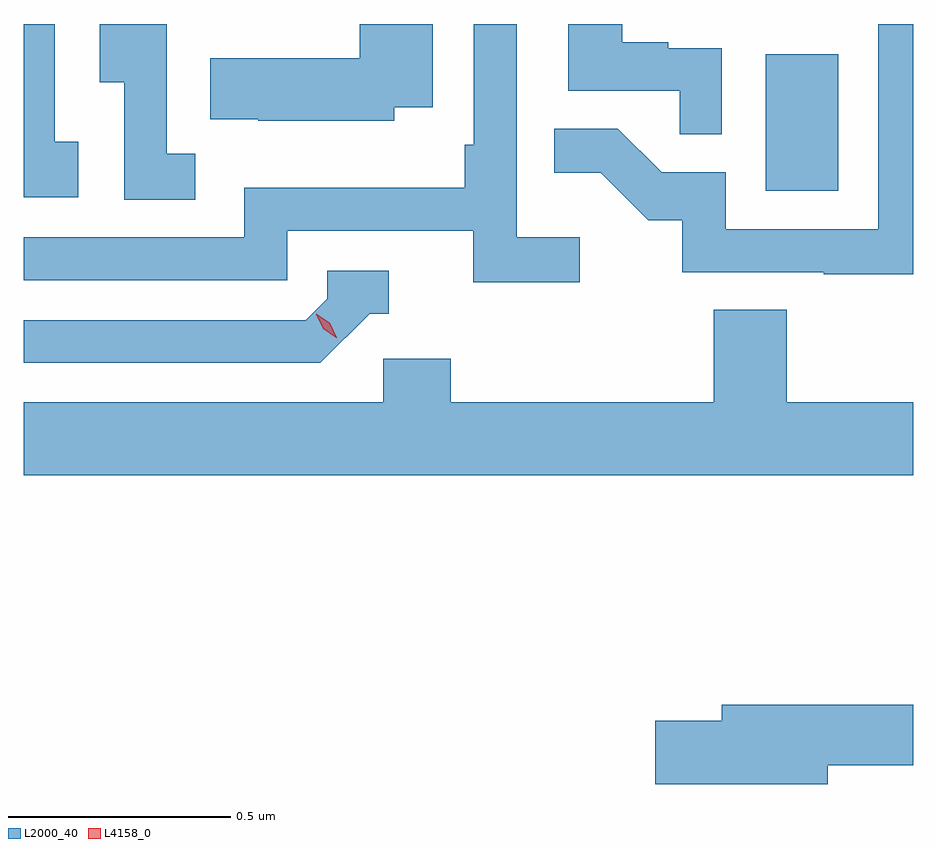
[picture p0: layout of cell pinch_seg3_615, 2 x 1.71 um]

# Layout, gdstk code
import gdstk
lib = gdstk.Library(unit=1e-6, precision=1e-09)
def R(c, l, rs):  # rectangles x0, y0, x1, y1
    for r in rs: c.add(gdstk.rectangle(r[:2], r[2:], *l))
def P(c, l, *ps):  # polygons
    for p in ps: c.add(gdstk.Polygon(p, *l))
L2000_40 = (2000, 40)
L4158_0 = (4158, 0)

pinch_seg3_615 = lib.new_cell('pinch_seg3_615')
R(pinch_seg3_615, L2000_40, [(1050.92,693.564,1051.084,693.871)])
P(pinch_seg3_615, L2000_40, [(1050.085,693.752),(1050.172,693.752),(1050.172,693.939),(1050.007,693.939),(1050.007,693.862),(1049.671,693.862),(1049.671,693.725),(1049.779,693.725),(1049.779,693.722),(1050.085,693.722)],
  [(1050.502,693.46),(1050.36,693.46),(1050.36,693.939),(1050.264,693.939),(1050.264,693.667),(1050.244,693.667),(1050.244,693.571),(1049.748,693.571),(1049.748,693.459),(1049.252,693.459),(1049.252,693.363),(1049.844,693.363),(1049.844,693.474),(1050.263,693.474),(1050.263,693.358),(1050.502,693.358)],
  [(1049.638,693.647),(1049.574,693.647),(1049.574,693.939),(1049.423,693.939),(1049.423,693.808),(1049.478,693.808),(1049.478,693.544),(1049.638,693.544)],
  [(1049.374,693.674),(1049.322,693.674),(1049.322,693.939),(1049.252,693.939),(1049.252,693.549),(1049.374,693.549)],
  [(1050.822,693.885),(1050.701,693.885),(1050.701,693.898),(1050.598,693.898),(1050.598,693.939),(1050.476,693.939),(1050.476,693.789),(1050.727,693.789),(1050.727,693.691),(1050.822,693.691)],
  [(1051.252,693.939),(1051.173,693.939),(1051.173,693.477),(1050.831,693.477),(1050.831,693.606),(1050.686,693.606),(1050.588,693.704),(1050.445,693.704),(1050.445,693.605),(1050.549,693.605),(1050.656,693.498),(1050.733,693.498),(1050.733,693.381),(1051.051,693.381),(1051.051,693.376),(1051.252,693.376)],
  [(1050.03,693.288),(1050.073,693.288),(1050.073,693.384),(1049.934,693.384),(1049.934,693.321),(1049.886,693.273),(1049.252,693.273),(1049.252,693.177),(1049.919,693.177)],
  [(1051.252,693.088),(1050.968,693.088),(1050.968,693.296),(1050.803,693.296),(1050.803,693.088),(1050.212,693.088),(1050.212,693.186),(1050.06,693.186),(1050.06,693.088),(1049.252,693.088),(1049.252,692.924),(1051.252,692.924)],
  [(1051.06,692.272),(1051.252,692.272),(1051.252,692.408),(1050.821,692.408),(1050.821,692.372),(1050.672,692.372),(1050.672,692.23),(1051.06,692.23)])
P(pinch_seg3_615, L4158_0, [(1049.955,693.234),(1049.925,693.254),(1049.91,693.286),(1049.91,693.287),(1049.91,693.287),(1049.94,693.267),(1049.956,693.234),(1049.956,693.234)])

lib.write_gds('pinch_seg3_615.gds')
